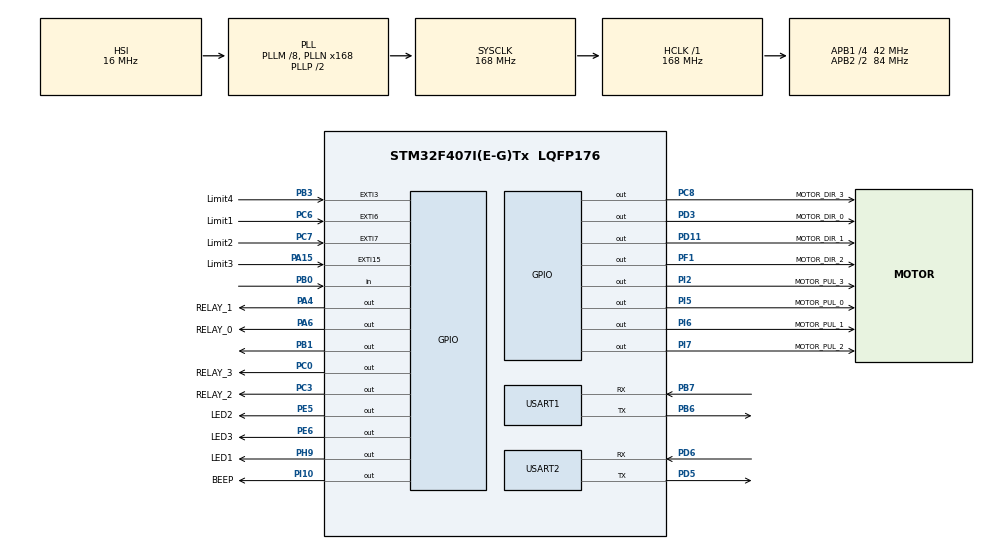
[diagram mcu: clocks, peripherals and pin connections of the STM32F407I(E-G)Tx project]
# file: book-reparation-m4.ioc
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FREERTOS.BinarySemaphores01=mySem_move,Dynamic,NULL
FREERTOS.Tasks01=defaultTask,0,128,StartDefaultTask,Default,NULL,Dynamic,NULL,NULL;limitTask,-3,128,LimitTask,Default,NULL,Dynamic,NULL,NULL;stepmoveTask,-3,128,StepmoveTask,Default,NULL,Dynamic,NULL,NULL
Mcu.Family=STM32F4
Mcu.Name=STM32F407I(E-G)Tx
Mcu.Package=LQFP176
NVIC.EXTI15_10_IRQn=true\:5\:0\:false\:false\:true\:true\:true\:true
NVIC.EXTI3_IRQn=true\:5\:0\:false\:false\:true\:true\:true\:true
NVIC.EXTI9_5_IRQn=true\:5\:0\:true\:false\:true\:true\:true\:true
NVIC.PriorityGroup=NVIC_PRIORITYGROUP_4
NVIC.TIM4_IRQn=true\:0\:0\:false\:false\:true\:false\:false\:true
NVIC.TimeBase=TIM4_IRQn
NVIC.TimeBaseIP=TIM4
NVIC.USART1_IRQn=true\:5\:0\:true\:false\:true\:true\:true\:true
NVIC.USART2_IRQn=true\:5\:0\:false\:false\:true\:true\:true\:true
PA13.Mode=Serial_Wire
PA13.Signal=SYS_JTMS-SWDIO
PA14.Mode=Serial_Wire
PA14.Signal=SYS_JTCK-SWCLK
PA15.GPIO_Label=Limit3
PA15.GPIO_ModeDefaultEXTI=GPIO_MODE_IT_FALLING
PA15.GPIO_PuPd=GPIO_PULLUP
PA15.Signal=GPXTI15
PA4.GPIO_Label=RELAY_1
PA4.GPIO_Speed=GPIO_SPEED_FREQ_HIGH
PA4.Signal=GPIO_Output
PA6.GPIO_Label=RELAY_0
PA6.GPIO_Speed=GPIO_SPEED_FREQ_HIGH
PA6.Signal=GPIO_Output
PB0.GPIO_PuPd=GPIO_PULLUP
PB0.Signal=GPIO_Input
PB1.GPIO_PuPd=GPIO_NOPULL
PB1.GPIO_Speed=GPIO_SPEED_FREQ_HIGH
PB1.PinState=GPIO_PIN_RESET
PB1.Signal=GPIO_Output
PB3.GPIO_Label=Limit4
PB3.GPIO_ModeDefaultEXTI=GPIO_MODE_IT_FALLING
PB3.GPIO_PuPd=GPIO_PULLUP
PB3.Signal=GPXTI3
PB6.GPIO_Speed=GPIO_SPEED_FREQ_HIGH
PB6.Mode=Asynchronous
PB6.Signal=USART1_TX
PB7.GPIO_Speed=GPIO_SPEED_FREQ_HIGH
PB7.Mode=Asynchronous
PB7.Signal=USART1_RX
PC0.GPIO_Label=RELAY_3
PC0.GPIO_Speed=GPIO_SPEED_FREQ_HIGH
PC0.Signal=GPIO_Output
PC3.GPIO_Label=RELAY_2
PC3.GPIO_Speed=GPIO_SPEED_FREQ_HIGH
PC3.Signal=GPIO_Output
PC6.GPIO_Label=Limit1
PC6.GPIO_ModeDefaultEXTI=GPIO_MODE_IT_FALLING
PC6.GPIO_PuPd=GPIO_PULLUP
PC6.Signal=GPXTI6
PC7.GPIO_Label=Limit2
PC7.GPIO_ModeDefaultEXTI=GPIO_MODE_IT_FALLING
PC7.GPIO_PuPd=GPIO_PULLUP
PC7.Signal=GPXTI7
PC8.GPIO_Label=MOTOR_DIR_3
PC8.GPIO_Speed=GPIO_SPEED_FREQ_HIGH
PC8.PinState=GPIO_PIN_SET
PC8.Signal=GPIO_Output
PD11.GPIO_Label=MOTOR_DIR_1
PD11.GPIO_Speed=GPIO_SPEED_FREQ_HIGH
PD11.PinState=GPIO_PIN_SET
PD11.Signal=GPIO_Output
PD3.GPIO_Label=MOTOR_DIR_0
PD3.GPIO_Speed=GPIO_SPEED_FREQ_HIGH
PD3.PinState=GPIO_PIN_SET
PD3.Signal=GPIO_Output
PD5.GPIO_Speed=GPIO_SPEED_FREQ_HIGH
PD5.Mode=Asynchronous
PD5.Signal=USART2_TX
PD6.GPIO_Speed=GPIO_SPEED_FREQ_HIGH
PD6.Mode=Asynchronous
PD6.Signal=USART2_RX
PE5.GPIO_Label=LED2
PE5.GPIO_Speed=GPIO_SPEED_FREQ_HIGH
PE5.PinState=GPIO_PIN_SET
PE5.Signal=GPIO_Output
PE6.GPIO_Label=LED3
PE6.GPIO_Speed=GPIO_SPEED_FREQ_HIGH
PE6.PinState=GPIO_PIN_SET
PE6.Signal=GPIO_Output
PF1.GPIO_Label=MOTOR_DIR_2
PF1.GPIO_Speed=GPIO_SPEED_FREQ_HIGH
PF1.PinState=GPIO_PIN_SET
PF1.Signal=GPIO_Output
PH9.GPIO_Label=LED1
PH9.GPIO_Speed=GPIO_SPEED_FREQ_HIGH
PH9.PinState=GPIO_PIN_SET
PH9.Signal=GPIO_Output
PI10.GPIO_Label=BEEP
PI10.GPIO_Speed=GPIO_SPEED_FREQ_HIGH
PI10.PinState=GPIO_PIN_SET
PI10.Signal=GPIO_Output
PI2.GPIO_Label=MOTOR_PUL_3
PI2.GPIO_Speed=GPIO_SPEED_FREQ_HIGH
PI2.PinState=GPIO_PIN_SET
PI2.Signal=GPIO_Output
PI5.GPIO_Label=MOTOR_PUL_0
PI5.GPIO_Speed=GPIO_SPEED_FREQ_HIGH
PI5.PinState=GPIO_PIN_SET
PI5.Signal=GPIO_Output
PI6.GPIO_Label=MOTOR_PUL_1
PI6.GPIO_Speed=GPIO_SPEED_FREQ_HIGH
PI6.PinState=GPIO_PIN_SET
PI6.Signal=GPIO_Output
PI7.GPIO_Label=MOTOR_PUL_2
PI7.GPIO_Speed=GPIO_SPEED_FREQ_HIGH
PI7.PinState=GPIO_PIN_SET
PI7.Signal=GPIO_Output
ProjectManager.HeapSize=0x200
ProjectManager.StackSize=0x400
ProjectManager.TargetToolchain=MDK-ARM V5.27
RCC.48MHZClocksFreq_Value=84000000
RCC.AHBFreq_Value=168000000
RCC.APB1CLKDivider=RCC_HCLK_DIV4
RCC.APB1Freq_Value=42000000
RCC.APB1TimFreq_Value=84000000
RCC.APB2CLKDivider=RCC_HCLK_DIV2
RCC.APB2Freq_Value=84000000
RCC.APB2TimFreq_Value=168000000
RCC.CortexFreq_Value=168000000
RCC.HCLKFreq_Value=168000000
RCC.HSE_VALUE=25000000
RCC.HSI_VALUE=16000000
RCC.LSE_VALUE=32768
RCC.PLLM=8
RCC.PLLN=168
RCC.SYSCLKFreq_VALUE=168000000
RCC.SYSCLKSource=RCC_SYSCLKSOURCE_PLLCLK
RCC.VCOOutputFreq_Value=336000000
USART1.VirtualMode=VM_ASYNC
USART2.VirtualMode=VM_ASYNC
VP_FREERTOS_VS_CMSIS_V1.Mode=CMSIS_V1
VP_SYS_VS_tim4.Mode=TIM4
board=custom

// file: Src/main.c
/* USER CODE BEGIN Header */
/**
  ******************************************************************************
  * @file           : main.c
  * @brief          : Main program body
  ******************************************************************************
  * @attention
  *
  * <h2><center>&copy; Copyright (c) 2021 STMicroelectronics.
  * All rights reserved.</center></h2>
  *
  * This software component is licensed by ST under Ultimate Liberty license
  * SLA0044, the "License"; You may not use this file except in compliance with
  * the License. You may obtain a copy of the License at:
  *                             www.st.com/SLA0044
  *
  ******************************************************************************
  */
/* USER CODE END Header */

#include "main.h"
#include "cmsis_os.h"

/* USER CODE BEGIN Includes */
#include "bsp_steper.h"
/* USER CODE END Includes */

UART_HandleTypeDef huart1;
UART_HandleTypeDef huart2;

osThreadId defaultTaskHandle;
osThreadId limitTaskHandle;
osThreadId stepmoveTaskHandle;
osSemaphoreId mySem_moveHandle;
/* USER CODE BEGIN PV */
uint16_t qiegtrace[151][2]={
	 {1432,401},{1432,403},{1432,405},{1432,407},{1431,409},{1431,410},{1431,412},{1430,414},{1429,416},{1429,418},
	 {1428,419},{1427,421},{1426,423},{1425,424},{1424,426},{1423,427},{1422,429},{1421,430},{1420,432},{1418,433},
	 {1417,434},{1416,436},{1414,437},{1413,438},{1411,439},{1410,440},{1408,441},{1406,442},{1404,442},{1403,443},
	 {1401,444},{1399,444},{1397,445},{1395,445},{1394,446},{1392,446},{1390,446},{1388,446},{1386,446},{1384,446},
	 {1382,446},{1380,446},{1379,445},{1377,445},{1375,444},{1373,444},{1371,443},{1370,442},{1368,442},{1366,441},
	 {1365,440},{1363,439},{1361,438},{1360,437},{1358,436},{1357,434},{1356,433},{1354,432},{1353,430},{1352,429},
	 {1351,427},{1350,426},{1349,424},{1348,423},{1347,421},{1346,419},{1345,418},{1345,416},{1344,414},{1343,412},
	 {1343,410},{1343,409},{1342,407},{1342,405},{1342,403},{1342,401},{1342,399},{1342,397},{1342,395},{1343,393},
	 {1343,392},{1343,390},{1344,388},{1345,386},{1345,384},{1346,383},{1347,381},{1348,379},{1349,378},{1350,376},
	 {1351,375},{1352,373},{1353,372},{1354,370},{1356,369},{1357,368},{1358,366},{1360,365},{1361,364},{1363,363},
	 {1365,362},{1366,361},{1368,360},{1370,360},{1371,359},{1373,358},{1375,358},{1377,357},{1379,357},{1380,356},
	 {1382,356},{1384,356},{1386,356},{1388,356},{1390,356},{1392,356},{1394,356},{1395,357},{1397,357},{1399,358},
	 {1401,358},{1403,359},{1404,360},{1406,360},{1408,361},{1410,362},{1411,363},{1413,364},{1414,365},{1416,366},
	 {1417,368},{1418,369},{1420,370},{1421,372},{1422,373},{1423,375},{1424,376},{1425,378},{1426,379},{1427,381},
	 {1428,383},{1429,384},{1429,386},{1430,388},{1431,390},{1431,392},{1431,393},{1432,395},{1432,397},{1432,399},
	 {1432,401}} ;

uint16_t xiftrace[101][2]={
	 {359,746},{359,748},{359,750},{358,752},{358,754},{357,756},{357,758},{356,760},{355,762},{354,764},{353,765},
	 {351,767},{350,769},{349,770},{347,771},{345,773},{344,774},{342,775},{340,776},{338,777},{336,777},{334,778},
	 {332,778},{330,779},{328,779},{326,779},{324,779},{322,779},{320,778},{318,778},{316,777},{314,777},{312,776},
	 {310,775},{308,774},{307,773},{305,771},{303,770},{302,769},{301,767},{299,765},{298,764},{297,762},{296,760},
	 {295,758},{295,756},{294,754},{294,752},{293,750},{293,748},{293,746},{293,744},{293,742},{294,740},{294,738},
	 {295,736},{295,734},{296,732},{297,730},{298,728},{299,727},{301,725},{302,723},{303,722},{305,721},{307,719},
	 {308,718},{310,717},{312,716},{314,715},{316,715},{318,714},{320,714},{322,713},{324,713},{326,713},{328,713},
	 {330,713},{332,714},{334,714},{336,715},{338,715},{340,716},{342,717},{344,718},{345,719},{347,721},{349,722},
	 {350,723},{351,725},{353,727},{354,728},{355,730},{356,732},{357,734},{357,736},{358,738},{358,740},{359,742},
	 {359,744},{359,746}};

extern Stepper_TypeDef stepers[4];
extern uint8_t recieveData[20];
extern uint8_t stopflag;
char *str;
/* USER CODE END PV */

void SystemClock_Config(void);
static void MX_GPIO_Init(void);
static void MX_USART1_UART_Init(void);
static void MX_USART2_UART_Init(void);
void StartDefaultTask(void const * argument);
void LimitTask(void const * argument);
void StepmoveTask(void const * argument);

/* USER CODE BEGIN PFP */
void returnOrigin(void);
/* USER CODE END PFP */

/* USER CODE BEGIN 0 */
static void NVIC_Close_Config()
{
  HAL_NVIC_DisableIRQ(EXTI3_IRQn);

  HAL_NVIC_DisableIRQ(EXTI9_5_IRQn);

  HAL_NVIC_DisableIRQ(EXTI15_10_IRQn);
}
/**
* @brief  return 0 point
* @param  ��
* @note   return 0 point and set the current coordinates.
* @retval ��
*/
void returnOrigin()
{
	while(stepers[0].stopFlag == 0){
		steperMove045mm(0, 0, 1000);
	}
	stepers[0].distance = 0;
	HAL_UART_Transmit_IT(&huart1, (uint8_t *)"step1 is up\n",13);

	stepers[1].stopFlag = 0;
	while(stepers[1].stopFlag == 0){
		steperMove045mm(1, 1, 1000);
	}
  stepers[1].distance = 0;
	HAL_UART_Transmit_IT(&huart1, (uint8_t *)"step2 is up\t\n",13);

	steperMove(3, 0, 1000, 10);
	steperMove(2, 0, 1000, 10);
	osDelay(50);
	stepers[2].stopFlag = 0;
	stepers[3].stopFlag = 0;
	while(stepers[2].stopFlag == 0){
		steperMove045mm(2, 1, 1000);
	}
  stepers[2].distance = 954.9;
	HAL_UART_Transmit_IT(&huart1, (uint8_t *)"step3 is up\t\n",13);

	while(stepers[3].stopFlag == 0){
		steperMove045mm(3, 1, 1000);
	}
  stepers[3].distance = 31.50;
	HAL_UART_Transmit_IT(&huart1, (uint8_t *)"step4 is up\t\n",13);
/*
   ������� ����0��.1	  1��.0
*/
	NVIC_Close_Config();
}

/* USER CODE END 0 */

int main(void)
{

  /* MCU Configuration--------------------------------------------------------*/

  /* Reset of all peripherals, Initializes the Flash interface and the Systick. */
  HAL_Init();

  /* Configure the system clock */
  SystemClock_Config();

  /* Initialize all configured peripherals */
  MX_GPIO_Init();
  MX_USART1_UART_Init();
  MX_USART2_UART_Init();
  /* USER CODE BEGIN 2 */
	delay_init(168);
	HAL_GPIO_WritePin(BEEP_GPIO_Port, BEEP_Pin, GPIO_PIN_RESET);
  /* USER CODE END 2 */

  /* Create the semaphores(s) */
  /* definition and creation of mySem_move */
  osSemaphoreDef(mySem_move);
  mySem_moveHandle = osSemaphoreCreate(osSemaphore(mySem_move), 1);

  /* Create the thread(s) */
  /* definition and creation of defaultTask */
  osThreadDef(defaultTask, StartDefaultTask, osPriorityNormal, 0, 128);
  defaultTaskHandle = osThreadCreate(osThread(defaultTask), NULL);

  /* definition and creation of limitTask */
  osThreadDef(limitTask, LimitTask, osPriorityIdle, 0, 128);
  limitTaskHandle = osThreadCreate(osThread(limitTask), NULL);

  /* definition and creation of stepmoveTask */
  osThreadDef(stepmoveTask, StepmoveTask, osPriorityIdle, 0, 128);
  stepmoveTaskHandle = osThreadCreate(osThread(stepmoveTask), NULL);

  /* Start scheduler */
  osKernelStart();

  /* We should never get here as control is now taken by the scheduler */
  /* Infinite loop */
  while (1)
  {

  }
}

void SystemClock_Config(void)
{
  RCC_OscInitTypeDef RCC_OscInitStruct = {0};
  RCC_ClkInitTypeDef RCC_ClkInitStruct = {0};

  /** Configure the main internal regulator output voltage
  */
  __HAL_RCC_PWR_CLK_ENABLE();
  __HAL_PWR_VOLTAGESCALING_CONFIG(PWR_REGULATOR_VOLTAGE_SCALE1);
  /** Initializes the CPU, AHB and APB busses clocks
  */
  RCC_OscInitStruct.OscillatorType = RCC_OSCILLATORTYPE_HSI;
  RCC_OscInitStruct.HSIState = RCC_HSI_ON;
  RCC_OscInitStruct.HSICalibrationValue = RCC_HSICALIBRATION_DEFAULT;
  RCC_OscInitStruct.PLL.PLLState = RCC_PLL_ON;
  RCC_OscInitStruct.PLL.PLLSource = RCC_PLLSOURCE_HSI;
  RCC_OscInitStruct.PLL.PLLM = 8;
  RCC_OscInitStruct.PLL.PLLN = 168;
  RCC_OscInitStruct.PLL.PLLP = RCC_PLLP_DIV2;
  RCC_OscInitStruct.PLL.PLLQ = 4;
  if (HAL_RCC_OscConfig(&RCC_OscInitStruct) != HAL_OK)
  {
    Error_Handler();
  }
  /** Initializes the CPU, AHB and APB busses clocks
  */
  RCC_ClkInitStruct.ClockType = RCC_CLOCKTYPE_HCLK|RCC_CLOCKTYPE_SYSCLK
                              |RCC_CLOCKTYPE_PCLK1|RCC_CLOCKTYPE_PCLK2;
  RCC_ClkInitStruct.SYSCLKSource = RCC_SYSCLKSOURCE_PLLCLK;
  RCC_ClkInitStruct.AHBCLKDivider = RCC_SYSCLK_DIV1;
  RCC_ClkInitStruct.APB1CLKDivider = RCC_HCLK_DIV4;
  RCC_ClkInitStruct.APB2CLKDivider = RCC_HCLK_DIV2;

  if (HAL_RCC_ClockConfig(&RCC_ClkInitStruct, FLASH_LATENCY_5) != HAL_OK)
  {
    Error_Handler();
  }
}

static void MX_USART1_UART_Init(void)
{

  huart1.Instance = USART1;
  huart1.Init.BaudRate = 115200;
  huart1.Init.WordLength = UART_WORDLENGTH_8B;
  huart1.Init.StopBits = UART_STOPBITS_1;
  huart1.Init.Parity = UART_PARITY_NONE;
  huart1.Init.Mode = UART_MODE_TX_RX;
  huart1.Init.HwFlowCtl = UART_HWCONTROL_NONE;
  huart1.Init.OverSampling = UART_OVERSAMPLING_16;
  if (HAL_UART_Init(&huart1) != HAL_OK)
  {
    Error_Handler();
  }

}

static void MX_USART2_UART_Init(void)
{

  huart2.Instance = USART2;
  huart2.Init.BaudRate = 115200;
  huart2.Init.WordLength = UART_WORDLENGTH_8B;
  huart2.Init.StopBits = UART_STOPBITS_1;
  huart2.Init.Parity = UART_PARITY_NONE;
  huart2.Init.Mode = UART_MODE_TX_RX;
  huart2.Init.HwFlowCtl = UART_HWCONTROL_NONE;
  huart2.Init.OverSampling = UART_OVERSAMPLING_16;
  if (HAL_UART_Init(&huart2) != HAL_OK)
  {
    Error_Handler();
  }

}

static void MX_GPIO_Init(void)
{
  GPIO_InitTypeDef GPIO_InitStruct = {0};

  /* GPIO Ports Clock Enable */
  __HAL_RCC_GPIOE_CLK_ENABLE();
  __HAL_RCC_GPIOI_CLK_ENABLE();
  __HAL_RCC_GPIOF_CLK_ENABLE();
  __HAL_RCC_GPIOC_CLK_ENABLE();
  __HAL_RCC_GPIOA_CLK_ENABLE();
  __HAL_RCC_GPIOB_CLK_ENABLE();
  __HAL_RCC_GPIOH_CLK_ENABLE();
  __HAL_RCC_GPIOD_CLK_ENABLE();

  /*Configure GPIO pin Output Level */
  HAL_GPIO_WritePin(GPIOE, LED2_Pin|LED3_Pin, GPIO_PIN_SET);

  /*Configure GPIO pin Output Level */
  HAL_GPIO_WritePin(GPIOI, BEEP_Pin|MOTOR_PUL_3_Pin|MOTOR_PUL_0_Pin|MOTOR_PUL_1_Pin
                          |MOTOR_PUL_2_Pin, GPIO_PIN_SET);

  /*Configure GPIO pin Output Level */
  HAL_GPIO_WritePin(MOTOR_DIR_2_GPIO_Port, MOTOR_DIR_2_Pin, GPIO_PIN_SET);

  /*Configure GPIO pin Output Level */
  HAL_GPIO_WritePin(GPIOC, RELAY_3_Pin|RELAY_2_Pin, GPIO_PIN_RESET);

  /*Configure GPIO pin Output Level */
  HAL_GPIO_WritePin(GPIOA, RELAY_1_Pin|RELAY_0_Pin, GPIO_PIN_RESET);

  /*Configure GPIO pin Output Level */
  HAL_GPIO_WritePin(GPIOB, GPIO_PIN_1, GPIO_PIN_RESET);

  /*Configure GPIO pin Output Level */
  HAL_GPIO_WritePin(LED1_GPIO_Port, LED1_Pin, GPIO_PIN_SET);

  /*Configure GPIO pin Output Level */
  HAL_GPIO_WritePin(GPIOD, MOTOR_DIR_1_Pin|MOTOR_DIR_0_Pin, GPIO_PIN_SET);

  /*Configure GPIO pin Output Level */
  HAL_GPIO_WritePin(MOTOR_DIR_3_GPIO_Port, MOTOR_DIR_3_Pin, GPIO_PIN_SET);

  /*Configure GPIO pins : LED2_Pin LED3_Pin */
  GPIO_InitStruct.Pin = LED2_Pin|LED3_Pin;
  GPIO_InitStruct.Mode = GPIO_MODE_OUTPUT_PP;
  GPIO_InitStruct.Pull = GPIO_NOPULL;
  GPIO_InitStruct.Speed = GPIO_SPEED_FREQ_HIGH;
  HAL_GPIO_Init(GPIOE, &GPIO_InitStruct);

  /*Configure GPIO pins : BEEP_Pin MOTOR_PUL_3_Pin MOTOR_PUL_0_Pin MOTOR_PUL_1_Pin
                           MOTOR_PUL_2_Pin */
  GPIO_InitStruct.Pin = BEEP_Pin|MOTOR_PUL_3_Pin|MOTOR_PUL_0_Pin|MOTOR_PUL_1_Pin
                          |MOTOR_PUL_2_Pin;
  GPIO_InitStruct.Mode = GPIO_MODE_OUTPUT_PP;
  GPIO_InitStruct.Pull = GPIO_NOPULL;
  GPIO_InitStruct.Speed = GPIO_SPEED_FREQ_HIGH;
  HAL_GPIO_Init(GPIOI, &GPIO_InitStruct);

  /*Configure GPIO pin : MOTOR_DIR_2_Pin */
  GPIO_InitStruct.Pin = MOTOR_DIR_2_Pin;
  GPIO_InitStruct.Mode = GPIO_MODE_OUTPUT_PP;
  GPIO_InitStruct.Pull = GPIO_NOPULL;
  GPIO_InitStruct.Speed = GPIO_SPEED_FREQ_HIGH;
  HAL_GPIO_Init(MOTOR_DIR_2_GPIO_Port, &GPIO_InitStruct);

  /*Configure GPIO pins : RELAY_3_Pin RELAY_2_Pin MOTOR_DIR_3_Pin */
  GPIO_InitStruct.Pin = RELAY_3_Pin|RELAY_2_Pin|MOTOR_DIR_3_Pin;
  GPIO_InitStruct.Mode = GPIO_MODE_OUTPUT_PP;
  GPIO_InitStruct.Pull = GPIO_NOPULL;
  GPIO_InitStruct.Speed = GPIO_SPEED_FREQ_HIGH;
  HAL_GPIO_Init(GPIOC, &GPIO_InitStruct);

  /*Configure GPIO pins : RELAY_1_Pin RELAY_0_Pin */
  GPIO_InitStruct.Pin = RELAY_1_Pin|RELAY_0_Pin;
  GPIO_InitStruct.Mode = GPIO_MODE_OUTPUT_PP;
  GPIO_InitStruct.Pull = GPIO_NOPULL;
  GPIO_InitStruct.Speed = GPIO_SPEED_FREQ_HIGH;
  HAL_GPIO_Init(GPIOA, &GPIO_InitStruct);

  /*Configure GPIO pin : PB0 */
  GPIO_InitStruct.Pin = GPIO_PIN_0;
  GPIO_InitStruct.Mode = GPIO_MODE_INPUT;
  GPIO_InitStruct.Pull = GPIO_PULLUP;
  HAL_GPIO_Init(GPIOB, &GPIO_InitStruct);

  /*Configure GPIO pin : PB1 */
  GPIO_InitStruct.Pin = GPIO_PIN_1;
  GPIO_InitStruct.Mode = GPIO_MODE_OUTPUT_PP;
  GPIO_InitStruct.Pull = GPIO_NOPULL;
  GPIO_InitStruct.Speed = GPIO_SPEED_FREQ_HIGH;
  HAL_GPIO_Init(GPIOB, &GPIO_InitStruct);

  /*Configure GPIO pin : LED1_Pin */
  GPIO_InitStruct.Pin = LED1_Pin;
  GPIO_InitStruct.Mode = GPIO_MODE_OUTPUT_PP;
  GPIO_InitStruct.Pull = GPIO_NOPULL;
  GPIO_InitStruct.Speed = GPIO_SPEED_FREQ_HIGH;
  HAL_GPIO_Init(LED1_GPIO_Port, &GPIO_InitStruct);

  /*Configure GPIO pins : MOTOR_DIR_1_Pin MOTOR_DIR_0_Pin */
  GPIO_InitStruct.Pin = MOTOR_DIR_1_Pin|MOTOR_DIR_0_Pin;
  GPIO_InitStruct.Mode = GPIO_MODE_OUTPUT_PP;
  GPIO_InitStruct.Pull = GPIO_NOPULL;
  GPIO_InitStruct.Speed = GPIO_SPEED_FREQ_HIGH;
  HAL_GPIO_Init(GPIOD, &GPIO_InitStruct);

  /*Configure GPIO pins : Limit1_Pin Limit2_Pin */
  GPIO_InitStruct.Pin = Limit1_Pin|Limit2_Pin;
  GPIO_InitStruct.Mode = GPIO_MODE_IT_FALLING;
  GPIO_InitStruct.Pull = GPIO_PULLUP;
  HAL_GPIO_Init(GPIOC, &GPIO_InitStruct);

  /*Configure GPIO pin : Limit3_Pin */
  GPIO_InitStruct.Pin = Limit3_Pin;
  GPIO_InitStruct.Mode = GPIO_MODE_IT_FALLING;
  GPIO_InitStruct.Pull = GPIO_PULLUP;
  HAL_GPIO_Init(Limit3_GPIO_Port, &GPIO_InitStruct);

  /*Configure GPIO pin : Limit4_Pin */
  GPIO_InitStruct.Pin = Limit4_Pin;
  GPIO_InitStruct.Mode = GPIO_MODE_IT_FALLING;
  GPIO_InitStruct.Pull = GPIO_PULLUP;
  HAL_GPIO_Init(Limit4_GPIO_Port, &GPIO_InitStruct);

  /* EXTI interrupt init*/
  HAL_NVIC_SetPriority(EXTI3_IRQn, 5, 0);
  HAL_NVIC_EnableIRQ(EXTI3_IRQn);

  HAL_NVIC_SetPriority(EXTI9_5_IRQn, 5, 0);
  HAL_NVIC_EnableIRQ(EXTI9_5_IRQn);

  HAL_NVIC_SetPriority(EXTI15_10_IRQn, 5, 0);
  HAL_NVIC_EnableIRQ(EXTI15_10_IRQn);

}

void StartDefaultTask(void const * argument)
{
  /* USER CODE BEGIN 5 */
	HAL_GPIO_WritePin(BEEP_GPIO_Port, BEEP_Pin, GPIO_PIN_RESET);
	HAL_GPIO_WritePin(RELAY_1_GPIO_Port, RELAY_1_Pin, GPIO_PIN_RESET); // ���� ����
  HAL_GPIO_WritePin(GPIOB, GPIO_PIN_1, GPIO_PIN_RESET);

	osDelay(1000);
	HAL_GPIO_WritePin(BEEP_GPIO_Port, BEEP_Pin, GPIO_PIN_SET);
	osDelay(200);
	HAL_GPIO_WritePin(BEEP_GPIO_Port, BEEP_Pin, GPIO_PIN_RESET);
	osDelay(200);

	returnOrigin();

	HAL_GPIO_WritePin(RELAY_1_GPIO_Port, RELAY_1_Pin, GPIO_PIN_RESET); // ���� ����
  /* Infinite loop */
  for(;;)
  {
		// HAL_UART_Transmit_IT(&huart2, (uint8_t *)"1,0,40", 7);
		HAL_GPIO_WritePin(LED1_GPIO_Port, LED1_Pin, GPIO_PIN_RESET);
    osDelay(4000);
		// HAL_UART_Transmit_IT(&huart2, (uint8_t *)"1,1,40", 7);
		HAL_GPIO_WritePin(LED1_GPIO_Port, LED1_Pin, GPIO_PIN_SET);
		osDelay(4000);
  }
  /* USER CODE END 5 */
}

void LimitTask(void const * argument)
{
  /* USER CODE BEGIN LimitTask */
  /* Infinite loop */
  for(;;)
  {
		osDelay(10);
  }
  /* USER CODE END LimitTask */
}

void StepmoveTask(void const * argument)
{
  /* USER CODE BEGIN StepmoveTask */
  /* Infinite loop */
  for(;;)
  {
    xSemaphoreTake(mySem_moveHandle, portMAX_DELAY);
//    HAL_UART_Transmit_IT(&huart1, (uint8_t *)"Recieve OK!\r\n",13);
    str = pvPortMalloc(48);
    if(recieveData[0] == 0x01){
      uint8_t motor = recieveData[1];
      uint8_t dir = recieveData[2];
      uint16_t pul = recieveData[3] << 8 | recieveData[4];
      steperMovePul(motor, dir, 1000, pul);

			sprintf(str, "motor[%d]:dis=[%0.3f]\r\n", motor, stepers[motor].distance);
			HAL_UART_Transmit_IT(&huart1, (uint8_t *)str, 48);

    }else if(recieveData[0] == 0x02){
			uint8_t model = recieveData[1];
			uint16_t x = recieveData[2] << 8 | recieveData[3];
			uint16_t y = recieveData[4] << 8 | recieveData[5];

			model == 0x00 ?	steperCoordinateMajorPul(x, y, 1000):steperCoordinateSecondPul(x, y, 1000);
			model == 0x00 ?	sprintf(str, "X1=[%0.3f] Y2=[%0.3f]\r\n", stepers[0].distance, stepers[1].distance)
										: sprintf(str, "X3=[%0.3f] Y4=[%0.3f]\r\n", stepers[2].distance, stepers[3].distance);
      HAL_UART_Transmit_IT(&huart1, (uint8_t *)str, 48);

		}else if(recieveData[0] == 0x03){
			int state = recieveData[1];
			HAL_GPIO_WritePin(RELAY_3_GPIO_Port, RELAY_3_Pin, (GPIO_PinState)state); // ����

		}else if(recieveData[0] == 0x04){
			sprintf(str, "[%0.3f,%0.3f,%0.3f,%0.3f]\r\n", stepers[0].distance, stepers[1].distance, stepers[2].distance, stepers[3].distance);
			HAL_UART_Transmit_IT(&huart1, (uint8_t *)str, 48);

		}

    vPortFree(str);
    osDelay(10);
  }
  /* USER CODE END StepmoveTask */
}

 /**
  * @brief  Period elapsed callback in non blocking mode
  * @note   This function is called  when TIM4 interrupt took place, inside
  * HAL_TIM_IRQHandler(). It makes a direct call to HAL_IncTick() to increment
  * a global variable "uwTick" used as application time base.
  * @param  htim : TIM handle
  * @retval None
  */
void HAL_TIM_PeriodElapsedCallback(TIM_HandleTypeDef *htim)
{
  if (htim->Instance == TIM4) {
    HAL_IncTick();
  }
}

void Error_Handler(void)
{
}

/************************ (C) COPYRIGHT STMicroelectronics *****END OF FILE****/
